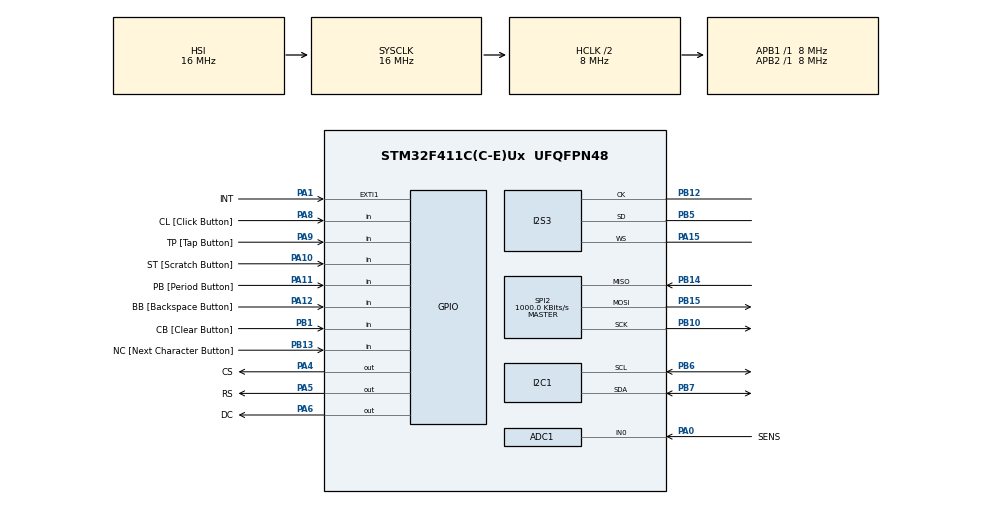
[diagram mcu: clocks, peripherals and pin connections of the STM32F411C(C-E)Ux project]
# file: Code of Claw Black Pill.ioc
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ADC1.Channel-0\#ChannelRegularConversion=ADC_CHANNEL_0
ADC1.ContinuousConvMode=ENABLE
ADC1.DMAContinuousRequests=ENABLE
ADC1.NbrOfConversionFlag=1
ADC1.Rank-0\#ChannelRegularConversion=1
ADC1.SamplingTime-0\#ChannelRegularConversion=ADC_SAMPLETIME_3CYCLES
ADC1.master=1
Dma.ADC1.1.Direction=DMA_PERIPH_TO_MEMORY
Dma.ADC1.1.FIFOMode=DMA_FIFOMODE_DISABLE
Dma.ADC1.1.Instance=DMA2_Stream0
Dma.ADC1.1.MemDataAlignment=DMA_MDATAALIGN_HALFWORD
Dma.ADC1.1.MemInc=DMA_MINC_ENABLE
Dma.ADC1.1.Mode=DMA_CIRCULAR
Dma.ADC1.1.PeriphDataAlignment=DMA_PDATAALIGN_HALFWORD
Dma.ADC1.1.PeriphInc=DMA_PINC_DISABLE
Dma.ADC1.1.Priority=DMA_PRIORITY_LOW
Dma.Request0=SPI3_RX
Dma.Request1=ADC1
Dma.SPI3_RX.0.Direction=DMA_PERIPH_TO_MEMORY
Dma.SPI3_RX.0.FIFOMode=DMA_FIFOMODE_DISABLE
Dma.SPI3_RX.0.Instance=DMA1_Stream0
Dma.SPI3_RX.0.MemDataAlignment=DMA_MDATAALIGN_WORD
Dma.SPI3_RX.0.MemInc=DMA_MINC_ENABLE
Dma.SPI3_RX.0.Mode=DMA_CIRCULAR
Dma.SPI3_RX.0.PeriphDataAlignment=DMA_PDATAALIGN_WORD
Dma.SPI3_RX.0.PeriphInc=DMA_PINC_DISABLE
Dma.SPI3_RX.0.Priority=DMA_PRIORITY_LOW
I2C1.I2C_Mode=I2C_Fast
I2S3.AudioFreq=I2S_AUDIOFREQ_32K
I2S3.DataFormat=I2S_DATAFORMAT_16B_EXTENDED
I2S3.ErrorAudioFreq=-0.26 %
I2S3.FullDuplexMode=I2S_FULLDUPLEXMODE_DISABLE
I2S3.Instance=SPI$Index
I2S3.Mode=I2S_MODE_MASTER_RX
I2S3.RealAudioFreq=31.914 KHz
I2S3.VirtualMode=I2S_MODE_MASTER
Mcu.Family=STM32F4
Mcu.Name=STM32F411C(C-E)Ux
Mcu.Package=UFQFPN48
NVIC.DMA1_Stream0_IRQn=true\:0\:0\:false\:false\:true\:false\:true\:true
NVIC.DMA2_Stream0_IRQn=true\:0\:0\:false\:false\:true\:false\:true\:true
NVIC.EXTI1_IRQn=true\:0\:0\:false\:false\:true\:true\:true\:true
NVIC.PriorityGroup=NVIC_PRIORITYGROUP_4
NVIC.TIM2_IRQn=true\:0\:0\:false\:false\:true\:true\:true\:true
NVIC.TIM3_IRQn=true\:0\:0\:false\:false\:true\:true\:true\:true
NVIC.TIM4_IRQn=true\:0\:0\:false\:false\:true\:true\:true\:true
PA0-WKUP.GPIO_Label=SENS
PA0-WKUP.Signal=ADCx_IN0
PA1.GPIO_Label=INT
PA1.Signal=GPXTI1
PA10.GPIO_Label=ST [Scratch Button]
PA10.GPIO_PuPd=GPIO_PULLUP
PA10.Signal=GPIO_Input
PA11.GPIO_Label=PB [Period Button]
PA11.GPIO_PuPd=GPIO_PULLUP
PA11.Signal=GPIO_Input
PA12.GPIO_Label=BB [Backspace Button]
PA12.GPIO_PuPd=GPIO_PULLUP
PA12.Signal=GPIO_Input
PA13.Mode=Serial_Wire
PA13.Signal=SYS_JTMS-SWDIO
PA14.Mode=Serial_Wire
PA14.Signal=SYS_JTCK-SWCLK
PA15.Mode=Half_Duplex_Master
PA15.Signal=I2S3_WS
PA4.GPIO_Label=CS
PA4.Signal=GPIO_Output
PA5.GPIO_Label=RS
PA5.Signal=GPIO_Output
PA6.GPIO_Label=DC
PA6.Signal=GPIO_Output
PA8.GPIO_Label=CL [Click Button]
PA8.GPIO_PuPd=GPIO_PULLUP
PA8.Signal=GPIO_Input
PA9.GPIO_Label=TP [Tap Button]
PA9.GPIO_PuPd=GPIO_PULLUP
PA9.Signal=GPIO_Input
PB1.GPIO_Label=CB [Clear Button]
PB1.GPIO_PuPd=GPIO_PULLUP
PB1.Signal=GPIO_Input
PB10.Mode=Full_Duplex_Master
PB10.Signal=SPI2_SCK
PB12.Mode=Half_Duplex_Master
PB12.Signal=I2S3_CK
PB13.GPIO_Label=NC [Next Character Button]
PB13.GPIO_PuPd=GPIO_PULLUP
PB13.Signal=GPIO_Input
PB14.Mode=Full_Duplex_Master
PB14.Signal=SPI2_MISO
PB15.Mode=Full_Duplex_Master
PB15.Signal=SPI2_MOSI
PB5.Mode=Half_Duplex_Master
PB5.Signal=I2S3_SD
PB6.Mode=I2C
PB6.Signal=I2C1_SCL
PB7.Mode=I2C
PB7.Signal=I2C1_SDA
PH0\ -\ OSC_IN.Mode=HSE-External-Oscillator
PH0\ -\ OSC_IN.Signal=RCC_OSC_IN
PH1\ -\ OSC_OUT.Mode=HSE-External-Oscillator
PH1\ -\ OSC_OUT.Signal=RCC_OSC_OUT
ProjectManager.HeapSize=0x200
ProjectManager.StackSize=0x400
ProjectManager.TargetToolchain=STM32CubeIDE
RCC.48MHZClocksFreq_Value=48000000
RCC.AHBCLKDivider=RCC_SYSCLK_DIV2
RCC.AHBFreq_Value=8000000
RCC.APB1Freq_Value=8000000
RCC.APB1TimFreq_Value=8000000
RCC.APB2Freq_Value=8000000
RCC.APB2TimFreq_Value=8000000
RCC.CortexFreq_Value=8000000
RCC.HCLKFreq_Value=8000000
RCC.HSE_VALUE=4000000
RCC.HSI_VALUE=16000000
RCC.LSE_VALUE=32768
RCC.SYSCLKFreq_VALUE=16000000
RCC.VCOOutputFreq_Value=192000000
SH.ADCx_IN0.0=ADC1_IN0,IN0
SPI2.BaudRatePrescaler=SPI_BAUDRATEPRESCALER_8
SPI2.CalculateBaudRate=1000.0 KBits/s
SPI2.Direction=SPI_DIRECTION_2LINES
SPI2.Mode=SPI_MODE_MASTER
SPI2.VirtualType=VM_MASTER
TIM2.Period=2499
TIM2.Prescaler=15
TIM3.Period=2499
TIM3.Prescaler=15
TIM4.Period=4999
TIM4.Prescaler=1599
VP_TIM2_VS_ClockSourceINT.Mode=Internal
VP_TIM3_VS_ClockSourceINT.Mode=Internal
VP_TIM4_VS_ClockSourceINT.Mode=Internal
board=custom

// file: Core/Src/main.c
/* USER CODE BEGIN Header */
/**
  ******************************************************************************
  * @file           : main.c
  * @brief          : Main program body
  ******************************************************************************
  * @attention
  *
  * Copyright (c) 2026 STMicroelectronics.
  * All rights reserved.
  *
  * This software is licensed under terms that can be found in the LICENSE file
  * in the root directory of this software component.
  * If no LICENSE file comes with this software, it is provided AS-IS.
  *
  ******************************************************************************
  */
/* USER CODE END Header */
#include "main.h"

/* USER CODE BEGIN Includes */
#include "ILI9341.h"
#include "code_tree.h"
#include "MTCH6102.h"
#include "arm_math.h"
/* USER CODE END Includes */

/* USER CODE BEGIN PD */
#define FFT_LENGTH		256
/* USER CODE END PD */

ADC_HandleTypeDef hadc1;
DMA_HandleTypeDef hdma_adc1;

I2C_HandleTypeDef hi2c1;

I2S_HandleTypeDef hi2s3;
DMA_HandleTypeDef hdma_spi3_rx;

SPI_HandleTypeDef hspi2;

TIM_HandleTypeDef htim2;
TIM_HandleTypeDef htim3;
TIM_HandleTypeDef htim4;

/* USER CODE BEGIN PV */
ILI9341_t ili9341;
trie_node* travel;
mtch6102_t mtch6102;
arm_rfft_fast_instance_f32 fft_inst;
int32_t input_dma[FFT_LENGTH * 4];

uint16_t raw_val = 0;
/* USER CODE END PV */

void SystemClock_Config(void);
static void MX_GPIO_Init(void);
static void MX_DMA_Init(void);
static void MX_I2C1_Init(void);
static void MX_I2S3_Init(void);
static void MX_SPI2_Init(void);
static void MX_TIM2_Init(void);
static void MX_TIM3_Init(void);
static void MX_TIM4_Init(void);
static void MX_ADC1_Init(void);

int main(void)
{

  /* MCU Configuration--------------------------------------------------------*/

  /* Reset of all peripherals, Initializes the Flash interface and the Systick. */
  HAL_Init();

  /* Configure the system clock */
  SystemClock_Config();

  /* Initialize all configured peripherals */
  MX_GPIO_Init();
  MX_DMA_Init();
  MX_I2C1_Init();
  MX_I2S3_Init();
  MX_SPI2_Init();
  MX_TIM2_Init();
  MX_TIM3_Init();
  MX_TIM4_Init();
  MX_ADC1_Init();
  /* USER CODE BEGIN 2 */
  ILI9341_Init (&ili9341, &hspi2, CS_GPIO_Port, CS_Pin, RS_GPIO_Port, RS_Pin, DC_GPIO_Port, DC_Pin);
  travel = Tree_Init ();
  MTCH6102_Init (&mtch6102, &hi2c1);
  arm_rfft_fast_init_f32 (&fft_inst, FFT_LENGTH);

  HAL_NVIC_SetPriority (TIM2_IRQn, 0, 0);
  HAL_NVIC_EnableIRQ (TIM2_IRQn);
  HAL_TIM_Base_Start_IT (&htim2);

  HAL_NVIC_SetPriority (TIM3_IRQn, 0, 0);
  HAL_NVIC_EnableIRQ (TIM3_IRQn);
  HAL_TIM_Base_Start_IT (&htim3);

  HAL_NVIC_SetPriority (TIM4_IRQn, 0, 0);
  HAL_NVIC_EnableIRQ (TIM4_IRQn);

  HAL_I2S_Receive_DMA (&hi2s3, (uint16_t*) input_dma, FFT_LENGTH * 4);

  HAL_ADC_Start_DMA (&hadc1, (uint32_t *) &raw_val, 1);
  /* USER CODE END 2 */

  /* Infinite loop */
  while (1)
  {

  }
}

void SystemClock_Config(void)
{
  RCC_OscInitTypeDef RCC_OscInitStruct = {0};
  RCC_ClkInitTypeDef RCC_ClkInitStruct = {0};

  /** Macro to configure the PLL multiplication factor
  */
  __HAL_RCC_PLL_PLLM_CONFIG(16);

  /** Macro to configure the PLL clock source
  */
  __HAL_RCC_PLL_PLLSOURCE_CONFIG(RCC_PLLSOURCE_HSI);

  /** Configure the main internal regulator output voltage
  */
  __HAL_RCC_PWR_CLK_ENABLE();
  __HAL_PWR_VOLTAGESCALING_CONFIG(PWR_REGULATOR_VOLTAGE_SCALE1);

  /** Initializes the RCC Oscillators according to the specified parameters
  * in the RCC_OscInitTypeDef structure.
  */
  RCC_OscInitStruct.OscillatorType = RCC_OSCILLATORTYPE_HSI;
  RCC_OscInitStruct.HSIState = RCC_HSI_ON;
  RCC_OscInitStruct.HSICalibrationValue = RCC_HSICALIBRATION_DEFAULT;
  RCC_OscInitStruct.PLL.PLLState = RCC_PLL_NONE;
  RCC_OscInitStruct.PLL.PLLSource = RCC_PLLSOURCE_HSI;
  if (HAL_RCC_OscConfig(&RCC_OscInitStruct) != HAL_OK)
  {
    Error_Handler();
  }

  /** Initializes the CPU, AHB and APB buses clocks
  */
  RCC_ClkInitStruct.ClockType = RCC_CLOCKTYPE_HCLK|RCC_CLOCKTYPE_SYSCLK
                              |RCC_CLOCKTYPE_PCLK1|RCC_CLOCKTYPE_PCLK2;
  RCC_ClkInitStruct.SYSCLKSource = RCC_SYSCLKSOURCE_HSI;
  RCC_ClkInitStruct.AHBCLKDivider = RCC_SYSCLK_DIV2;
  RCC_ClkInitStruct.APB1CLKDivider = RCC_HCLK_DIV1;
  RCC_ClkInitStruct.APB2CLKDivider = RCC_HCLK_DIV1;

  if (HAL_RCC_ClockConfig(&RCC_ClkInitStruct, FLASH_LATENCY_0) != HAL_OK)
  {
    Error_Handler();
  }
}

static void MX_ADC1_Init(void)
{

  ADC_ChannelConfTypeDef sConfig = {0};

  /** Configure the global features of the ADC (Clock, Resolution, Data Alignment and number of conversion)
  */
  hadc1.Instance = ADC1;
  hadc1.Init.ClockPrescaler = ADC_CLOCK_SYNC_PCLK_DIV2;
  hadc1.Init.Resolution = ADC_RESOLUTION_12B;
  hadc1.Init.ScanConvMode = DISABLE;
  hadc1.Init.ContinuousConvMode = ENABLE;
  hadc1.Init.DiscontinuousConvMode = DISABLE;
  hadc1.Init.ExternalTrigConvEdge = ADC_EXTERNALTRIGCONVEDGE_NONE;
  hadc1.Init.ExternalTrigConv = ADC_SOFTWARE_START;
  hadc1.Init.DataAlign = ADC_DATAALIGN_RIGHT;
  hadc1.Init.NbrOfConversion = 1;
  hadc1.Init.DMAContinuousRequests = ENABLE;
  hadc1.Init.EOCSelection = ADC_EOC_SINGLE_CONV;
  if (HAL_ADC_Init(&hadc1) != HAL_OK)
  {
    Error_Handler();
  }

  /** Configure for the selected ADC regular channel its corresponding rank in the sequencer and its sample time.
  */
  sConfig.Channel = ADC_CHANNEL_0;
  sConfig.Rank = 1;
  sConfig.SamplingTime = ADC_SAMPLETIME_3CYCLES;
  if (HAL_ADC_ConfigChannel(&hadc1, &sConfig) != HAL_OK)
  {
    Error_Handler();
  }

}

static void MX_I2C1_Init(void)
{

  hi2c1.Instance = I2C1;
  hi2c1.Init.ClockSpeed = 400000;
  hi2c1.Init.DutyCycle = I2C_DUTYCYCLE_2;
  hi2c1.Init.OwnAddress1 = 0;
  hi2c1.Init.AddressingMode = I2C_ADDRESSINGMODE_7BIT;
  hi2c1.Init.DualAddressMode = I2C_DUALADDRESS_DISABLE;
  hi2c1.Init.OwnAddress2 = 0;
  hi2c1.Init.GeneralCallMode = I2C_GENERALCALL_DISABLE;
  hi2c1.Init.NoStretchMode = I2C_NOSTRETCH_DISABLE;
  if (HAL_I2C_Init(&hi2c1) != HAL_OK)
  {
    Error_Handler();
  }

}

static void MX_I2S3_Init(void)
{

  hi2s3.Instance = SPI3;
  hi2s3.Init.Mode = I2S_MODE_MASTER_RX;
  hi2s3.Init.Standard = I2S_STANDARD_PHILIPS;
  hi2s3.Init.DataFormat = I2S_DATAFORMAT_16B_EXTENDED;
  hi2s3.Init.MCLKOutput = I2S_MCLKOUTPUT_DISABLE;
  hi2s3.Init.AudioFreq = I2S_AUDIOFREQ_32K;
  hi2s3.Init.CPOL = I2S_CPOL_LOW;
  hi2s3.Init.ClockSource = I2S_CLOCK_PLL;
  hi2s3.Init.FullDuplexMode = I2S_FULLDUPLEXMODE_DISABLE;
  if (HAL_I2S_Init(&hi2s3) != HAL_OK)
  {
    Error_Handler();
  }

}

static void MX_SPI2_Init(void)
{

  /* SPI2 parameter configuration*/
  hspi2.Instance = SPI2;
  hspi2.Init.Mode = SPI_MODE_MASTER;
  hspi2.Init.Direction = SPI_DIRECTION_2LINES;
  hspi2.Init.DataSize = SPI_DATASIZE_8BIT;
  hspi2.Init.CLKPolarity = SPI_POLARITY_LOW;
  hspi2.Init.CLKPhase = SPI_PHASE_1EDGE;
  hspi2.Init.NSS = SPI_NSS_SOFT;
  hspi2.Init.BaudRatePrescaler = SPI_BAUDRATEPRESCALER_8;
  hspi2.Init.FirstBit = SPI_FIRSTBIT_MSB;
  hspi2.Init.TIMode = SPI_TIMODE_DISABLE;
  hspi2.Init.CRCCalculation = SPI_CRCCALCULATION_DISABLE;
  hspi2.Init.CRCPolynomial = 10;
  if (HAL_SPI_Init(&hspi2) != HAL_OK)
  {
    Error_Handler();
  }

}

static void MX_TIM2_Init(void)
{

  TIM_ClockConfigTypeDef sClockSourceConfig = {0};
  TIM_MasterConfigTypeDef sMasterConfig = {0};

  htim2.Instance = TIM2;
  htim2.Init.Prescaler = 15;
  htim2.Init.CounterMode = TIM_COUNTERMODE_UP;
  htim2.Init.Period = 2499;
  htim2.Init.ClockDivision = TIM_CLOCKDIVISION_DIV1;
  htim2.Init.AutoReloadPreload = TIM_AUTORELOAD_PRELOAD_DISABLE;
  if (HAL_TIM_Base_Init(&htim2) != HAL_OK)
  {
    Error_Handler();
  }
  sClockSourceConfig.ClockSource = TIM_CLOCKSOURCE_INTERNAL;
  if (HAL_TIM_ConfigClockSource(&htim2, &sClockSourceConfig) != HAL_OK)
  {
    Error_Handler();
  }
  sMasterConfig.MasterOutputTrigger = TIM_TRGO_RESET;
  sMasterConfig.MasterSlaveMode = TIM_MASTERSLAVEMODE_DISABLE;
  if (HAL_TIMEx_MasterConfigSynchronization(&htim2, &sMasterConfig) != HAL_OK)
  {
    Error_Handler();
  }

}

static void MX_TIM3_Init(void)
{

  TIM_ClockConfigTypeDef sClockSourceConfig = {0};
  TIM_MasterConfigTypeDef sMasterConfig = {0};

  htim3.Instance = TIM3;
  htim3.Init.Prescaler = 15;
  htim3.Init.CounterMode = TIM_COUNTERMODE_UP;
  htim3.Init.Period = 2499;
  htim3.Init.ClockDivision = TIM_CLOCKDIVISION_DIV1;
  htim3.Init.AutoReloadPreload = TIM_AUTORELOAD_PRELOAD_DISABLE;
  if (HAL_TIM_Base_Init(&htim3) != HAL_OK)
  {
    Error_Handler();
  }
  sClockSourceConfig.ClockSource = TIM_CLOCKSOURCE_INTERNAL;
  if (HAL_TIM_ConfigClockSource(&htim3, &sClockSourceConfig) != HAL_OK)
  {
    Error_Handler();
  }
  sMasterConfig.MasterOutputTrigger = TIM_TRGO_RESET;
  sMasterConfig.MasterSlaveMode = TIM_MASTERSLAVEMODE_DISABLE;
  if (HAL_TIMEx_MasterConfigSynchronization(&htim3, &sMasterConfig) != HAL_OK)
  {
    Error_Handler();
  }

}

static void MX_TIM4_Init(void)
{

  TIM_ClockConfigTypeDef sClockSourceConfig = {0};
  TIM_MasterConfigTypeDef sMasterConfig = {0};

  htim4.Instance = TIM4;
  htim4.Init.Prescaler = 1599;
  htim4.Init.CounterMode = TIM_COUNTERMODE_UP;
  htim4.Init.Period = 4999;
  htim4.Init.ClockDivision = TIM_CLOCKDIVISION_DIV1;
  htim4.Init.AutoReloadPreload = TIM_AUTORELOAD_PRELOAD_DISABLE;
  if (HAL_TIM_Base_Init(&htim4) != HAL_OK)
  {
    Error_Handler();
  }
  sClockSourceConfig.ClockSource = TIM_CLOCKSOURCE_INTERNAL;
  if (HAL_TIM_ConfigClockSource(&htim4, &sClockSourceConfig) != HAL_OK)
  {
    Error_Handler();
  }
  sMasterConfig.MasterOutputTrigger = TIM_TRGO_RESET;
  sMasterConfig.MasterSlaveMode = TIM_MASTERSLAVEMODE_DISABLE;
  if (HAL_TIMEx_MasterConfigSynchronization(&htim4, &sMasterConfig) != HAL_OK)
  {
    Error_Handler();
  }

}

static void MX_DMA_Init(void)
{

  /* DMA controller clock enable */
  __HAL_RCC_DMA1_CLK_ENABLE();
  __HAL_RCC_DMA2_CLK_ENABLE();

  /* DMA interrupt init */
  /* DMA1_Stream0_IRQn interrupt configuration */
  HAL_NVIC_SetPriority(DMA1_Stream0_IRQn, 0, 0);
  HAL_NVIC_EnableIRQ(DMA1_Stream0_IRQn);
  /* DMA2_Stream0_IRQn interrupt configuration */
  HAL_NVIC_SetPriority(DMA2_Stream0_IRQn, 0, 0);
  HAL_NVIC_EnableIRQ(DMA2_Stream0_IRQn);

}

static void MX_GPIO_Init(void)
{
  GPIO_InitTypeDef GPIO_InitStruct = {0};

  /* GPIO Ports Clock Enable */
  __HAL_RCC_GPIOH_CLK_ENABLE();
  __HAL_RCC_GPIOA_CLK_ENABLE();
  __HAL_RCC_GPIOB_CLK_ENABLE();

  /*Configure GPIO pin Output Level */
  HAL_GPIO_WritePin(GPIOA, CS_Pin|RS_Pin|DC_Pin, GPIO_PIN_RESET);

  /*Configure GPIO pin : INT_Pin */
  GPIO_InitStruct.Pin = INT_Pin;
  GPIO_InitStruct.Mode = GPIO_MODE_IT_RISING;
  GPIO_InitStruct.Pull = GPIO_NOPULL;
  HAL_GPIO_Init(INT_GPIO_Port, &GPIO_InitStruct);

  /*Configure GPIO pins : CS_Pin RS_Pin DC_Pin */
  GPIO_InitStruct.Pin = CS_Pin|RS_Pin|DC_Pin;
  GPIO_InitStruct.Mode = GPIO_MODE_OUTPUT_PP;
  GPIO_InitStruct.Pull = GPIO_NOPULL;
  GPIO_InitStruct.Speed = GPIO_SPEED_FREQ_LOW;
  HAL_GPIO_Init(GPIOA, &GPIO_InitStruct);

  /*Configure GPIO pins : CB_Pin NC_Pin */
  GPIO_InitStruct.Pin = CB_Pin|NC_Pin;
  GPIO_InitStruct.Mode = GPIO_MODE_INPUT;
  GPIO_InitStruct.Pull = GPIO_PULLUP;
  HAL_GPIO_Init(GPIOB, &GPIO_InitStruct);

  /*Configure GPIO pins : CL_Pin TP_Pin ST_Pin PB_Pin
                           BB_Pin */
  GPIO_InitStruct.Pin = CL_Pin|TP_Pin|ST_Pin|PB_Pin
                          |BB_Pin;
  GPIO_InitStruct.Mode = GPIO_MODE_INPUT;
  GPIO_InitStruct.Pull = GPIO_PULLUP;
  HAL_GPIO_Init(GPIOA, &GPIO_InitStruct);

  /* EXTI interrupt init*/
  HAL_NVIC_SetPriority(EXTI1_IRQn, 0, 0);
  HAL_NVIC_EnableIRQ(EXTI1_IRQn);

}

void Error_Handler(void)
{
  __disable_irq();
  while (1)
  {
  }
}
